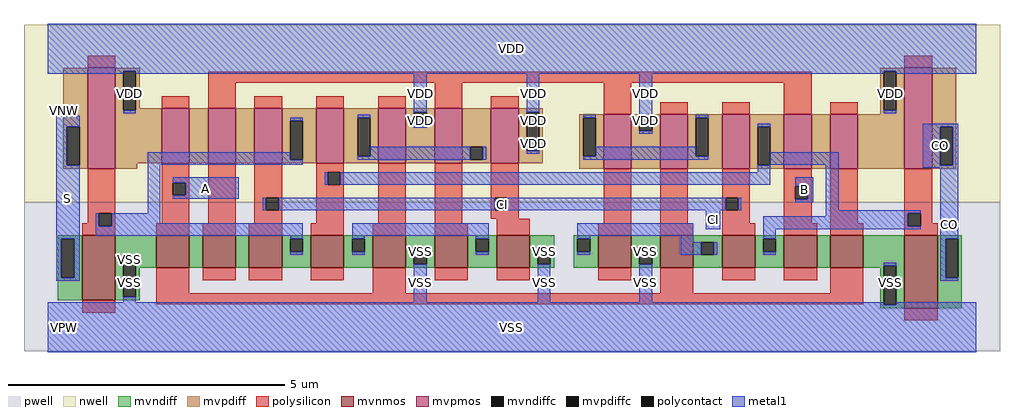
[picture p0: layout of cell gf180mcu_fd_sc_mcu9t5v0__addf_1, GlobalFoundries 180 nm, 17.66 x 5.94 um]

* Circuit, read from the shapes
.subckt gf180mcu_fd_sc_mcu9t5v0__addf_1 A B CI CO S VDD VNW VPW VSS
XM1 VSS n1 S VPW nfet_06v0 w=1.18u l=0.6u
XM2 n2 A VSS VPW nfet_06v0 w=0.59u l=0.6u
XM3 n3 B n2 VPW nfet_06v0 w=0.59u l=0.6u
XM4 n1 CI n3 VPW nfet_06v0 w=0.59u l=0.6u
XM5 n4 n5 n1 VPW nfet_06v0 w=0.59u l=0.6u
XM6 VSS A n4 VPW nfet_06v0 w=0.59u l=0.6u
XM7 n4 B VSS VPW nfet_06v0 w=0.59u l=0.6u
XM8 VSS CI n4 VPW nfet_06v0 w=0.59u l=0.6u
XM9 VSS B n6 VPW nfet_06v0 w=0.59u l=0.6u
XM10 n6 A VSS VPW nfet_06v0 w=0.59u l=0.6u
XM11 n5 CI n6 VPW nfet_06v0 w=0.59u l=0.6u
XM12 n7 B n5 VPW nfet_06v0 w=0.59u l=0.6u
XM13 VSS A n7 VPW nfet_06v0 w=0.59u l=0.6u
XM14 CO n5 VSS VPW nfet_06v0 w=1.32u l=0.6u
XM15 VDD n1 S VNW pfet_06v0 w=1.83u l=0.5u
XM16 n8 A VDD VNW pfet_06v0 w=0.99u l=0.5u
XM17 n9 B n8 VNW pfet_06v0 w=0.99u l=0.5u
XM18 n1 CI n9 VNW pfet_06v0 w=0.99u l=0.5u
XM19 n10 n5 n1 VNW pfet_06v0 w=0.99u l=0.5u
XM20 VDD A n10 VNW pfet_06v0 w=0.99u l=0.5u
XM21 n10 B VDD VNW pfet_06v0 w=0.99u l=0.5u
XM22 VDD CI n10 VNW pfet_06v0 w=0.99u l=0.5u
XM23 VDD B n11 VNW pfet_06v0 w=0.99u l=0.5u
XM24 n11 A VDD VNW pfet_06v0 w=0.99u l=0.5u
XM25 n5 CI n11 VNW pfet_06v0 w=0.99u l=0.5u
XM26 n12 B n5 VNW pfet_06v0 w=0.99u l=0.5u
XM27 VDD A n12 VNW pfet_06v0 w=0.99u l=0.5u
XM28 CO n5 VDD VNW pfet_06v0 w=1.83u l=0.5u
.ends

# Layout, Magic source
magic
tech gf180mcuD
magscale 1 10
<< nwell >>
rect -86 453 3446 1094
<< pwell >>
rect -86 -86 3446 453
<< mvnmos >>
rect 124 97 244 333
rect 392 215 512 333
rect 560 215 680 333
rect 728 215 848 333
rect 952 215 1072 333
rect 1176 215 1296 333
rect 1400 215 1520 333
rect 1624 215 1744 333
rect 1992 215 2112 333
rect 2216 215 2336 333
rect 2440 215 2560 333
rect 2664 215 2784 333
rect 2832 215 2952 333
rect 3100 69 3220 333
<< mvpmos >>
rect 144 573 244 939
rect 412 594 512 792
rect 580 594 680 792
rect 748 594 848 792
rect 972 594 1072 792
rect 1196 594 1296 792
rect 1400 594 1500 792
rect 1604 594 1704 792
rect 2012 573 2112 771
rect 2216 573 2316 771
rect 2440 573 2540 771
rect 2664 573 2764 771
rect 2832 573 2932 771
rect 3100 573 3200 939
<< mvndiff >>
rect 36 320 124 333
rect 36 180 49 320
rect 95 180 124 320
rect 36 97 124 180
rect 244 250 392 333
rect 244 110 273 250
rect 319 215 392 250
rect 512 215 560 333
rect 680 215 728 333
rect 848 320 952 333
rect 848 274 877 320
rect 923 274 952 320
rect 848 215 952 274
rect 1072 320 1176 333
rect 1072 274 1101 320
rect 1147 274 1176 320
rect 1072 215 1176 274
rect 1296 274 1400 333
rect 1296 228 1325 274
rect 1371 228 1400 274
rect 1296 215 1400 228
rect 1520 320 1624 333
rect 1520 274 1549 320
rect 1595 274 1624 320
rect 1520 215 1624 274
rect 1744 274 1832 333
rect 1744 228 1773 274
rect 1819 228 1832 274
rect 1744 215 1832 228
rect 1904 320 1992 333
rect 1904 274 1917 320
rect 1963 274 1992 320
rect 1904 215 1992 274
rect 2112 274 2216 333
rect 2112 228 2141 274
rect 2187 228 2216 274
rect 2112 215 2216 228
rect 2336 308 2440 333
rect 2336 262 2365 308
rect 2411 262 2440 308
rect 2336 215 2440 262
rect 2560 320 2664 333
rect 2560 274 2589 320
rect 2635 274 2664 320
rect 2560 215 2664 274
rect 2784 215 2832 333
rect 2952 222 3100 333
rect 2952 215 3025 222
rect 319 110 332 215
rect 244 97 332 110
rect 3012 82 3025 215
rect 3071 82 3100 222
rect 3012 69 3100 82
rect 3220 320 3308 333
rect 3220 180 3249 320
rect 3295 180 3308 320
rect 3220 69 3308 180
<< mvpdiff >>
rect 56 726 144 939
rect 56 586 69 726
rect 115 586 144 726
rect 56 573 144 586
rect 244 926 332 939
rect 244 786 273 926
rect 319 792 332 926
rect 3012 926 3100 939
rect 319 786 412 792
rect 244 594 412 786
rect 512 594 580 792
rect 680 594 748 792
rect 848 747 972 792
rect 848 607 877 747
rect 923 607 972 747
rect 848 594 972 607
rect 1072 758 1196 792
rect 1072 618 1121 758
rect 1167 618 1196 758
rect 1072 594 1196 618
rect 1296 779 1400 792
rect 1296 733 1325 779
rect 1371 733 1400 779
rect 1296 594 1400 733
rect 1500 653 1604 792
rect 1500 607 1529 653
rect 1575 607 1604 653
rect 1500 594 1604 607
rect 1704 779 1792 792
rect 1704 639 1733 779
rect 1779 639 1792 779
rect 3012 786 3025 926
rect 3071 786 3100 926
rect 3012 771 3100 786
rect 1704 594 1792 639
rect 1924 758 2012 771
rect 1924 618 1937 758
rect 1983 618 2012 758
rect 244 573 324 594
rect 1924 573 2012 618
rect 2112 758 2216 771
rect 2112 712 2141 758
rect 2187 712 2216 758
rect 2112 573 2216 712
rect 2316 758 2440 771
rect 2316 618 2345 758
rect 2391 618 2440 758
rect 2316 573 2440 618
rect 2540 726 2664 771
rect 2540 586 2569 726
rect 2615 586 2664 726
rect 2540 573 2664 586
rect 2764 573 2832 771
rect 2932 573 3100 771
rect 3200 726 3288 939
rect 3200 586 3229 726
rect 3275 586 3288 726
rect 3200 573 3288 586
<< mvndiffc >>
rect 49 180 95 320
rect 273 110 319 250
rect 877 274 923 320
rect 1101 274 1147 320
rect 1325 228 1371 274
rect 1549 274 1595 320
rect 1773 228 1819 274
rect 1917 274 1963 320
rect 2141 228 2187 274
rect 2365 262 2411 308
rect 2589 274 2635 320
rect 3025 82 3071 222
rect 3249 180 3295 320
<< mvpdiffc >>
rect 69 586 115 726
rect 273 786 319 926
rect 877 607 923 747
rect 1121 618 1167 758
rect 1325 733 1371 779
rect 1529 607 1575 653
rect 1733 639 1779 779
rect 3025 786 3071 926
rect 1937 618 1983 758
rect 2141 712 2187 758
rect 2345 618 2391 758
rect 2569 586 2615 726
rect 3229 586 3275 726
<< polysilicon >>
rect 144 939 244 983
rect 3100 939 3200 983
rect 580 884 2764 924
rect 412 792 512 836
rect 580 792 680 884
rect 748 792 848 836
rect 972 792 1072 836
rect 1196 792 1296 836
rect 1400 792 1500 884
rect 1604 792 1704 836
rect 2012 771 2112 884
rect 2216 771 2316 815
rect 2440 771 2540 815
rect 2664 771 2764 884
rect 2832 771 2932 815
rect 144 412 244 573
rect 144 377 185 412
rect 124 366 185 377
rect 231 366 244 412
rect 412 523 512 594
rect 412 477 453 523
rect 499 477 512 523
rect 412 377 512 477
rect 580 377 680 594
rect 748 469 848 594
rect 748 423 789 469
rect 835 423 848 469
rect 748 377 848 423
rect 972 561 1072 594
rect 972 515 1013 561
rect 1059 515 1072 561
rect 972 377 1072 515
rect 1196 377 1296 594
rect 124 333 244 366
rect 392 333 512 377
rect 560 333 680 377
rect 728 333 848 377
rect 952 333 1072 377
rect 1176 333 1296 377
rect 1400 377 1500 594
rect 1604 469 1704 594
rect 1604 423 1617 469
rect 1663 423 1704 469
rect 1604 393 1704 423
rect 1400 333 1520 377
rect 1624 333 1744 393
rect 2012 377 2112 573
rect 1992 333 2112 377
rect 2216 377 2316 573
rect 2440 469 2540 573
rect 2440 423 2453 469
rect 2499 423 2540 469
rect 2440 377 2540 423
rect 2664 510 2764 573
rect 2664 464 2705 510
rect 2751 464 2764 510
rect 2664 377 2764 464
rect 2832 377 2932 573
rect 3100 412 3200 573
rect 2216 333 2336 377
rect 2440 333 2560 377
rect 2664 333 2784 377
rect 2832 333 2952 377
rect 3100 366 3113 412
rect 3159 377 3200 412
rect 3159 366 3220 377
rect 3100 333 3220 366
rect 392 123 512 215
rect 560 171 680 215
rect 728 171 848 215
rect 952 171 1072 215
rect 1176 123 1296 215
rect 1400 171 1520 215
rect 1624 171 1744 215
rect 1992 171 2112 215
rect 2216 123 2336 215
rect 2440 171 2560 215
rect 2664 171 2784 215
rect 2832 123 2952 215
rect 124 53 244 97
rect 392 83 2952 123
rect 3100 25 3220 69
<< polycontact >>
rect 185 366 231 412
rect 453 477 499 523
rect 789 423 835 469
rect 1013 515 1059 561
rect 1617 423 1663 469
rect 2453 423 2499 469
rect 2705 464 2751 510
rect 3113 366 3159 412
<< metal1 >>
rect 0 926 3360 1098
rect 0 918 273 926
rect 319 918 3025 926
rect 273 775 319 786
rect 1325 779 1371 918
rect 30 726 115 766
rect 1121 758 1167 769
rect 30 586 69 726
rect 877 747 923 758
rect 30 320 115 586
rect 361 607 877 634
rect 1325 722 1371 733
rect 1733 779 1779 918
rect 1167 618 1529 653
rect 1121 607 1529 618
rect 1575 607 1586 653
rect 1733 628 1779 639
rect 1937 758 1983 769
rect 2141 758 2187 918
rect 3071 918 3360 926
rect 3025 775 3071 786
rect 2141 701 2187 712
rect 2345 758 2391 769
rect 1983 618 2345 653
rect 1937 607 2391 618
rect 2569 726 2615 737
rect 361 588 923 607
rect 361 412 407 588
rect 3166 726 3295 737
rect 2615 588 2862 634
rect 2569 561 2615 586
rect 453 523 691 542
rect 499 477 691 523
rect 1002 515 1013 561
rect 1059 515 2615 561
rect 453 466 691 477
rect 2705 510 2770 542
rect 778 423 789 469
rect 835 423 1617 469
rect 1663 423 2453 469
rect 2499 423 2510 469
rect 2751 464 2770 510
rect 2705 453 2770 464
rect 2816 423 2862 588
rect 3166 586 3229 726
rect 3275 586 3295 726
rect 3166 578 3295 586
rect 174 366 185 412
rect 231 377 407 412
rect 231 366 923 377
rect 174 331 923 366
rect 30 180 49 320
rect 95 180 115 320
rect 877 320 923 331
rect 877 263 923 274
rect 1101 331 1595 377
rect 1101 320 1147 331
rect 1549 320 1595 331
rect 1101 263 1147 274
rect 1325 274 1371 285
rect 30 169 115 180
rect 273 250 319 261
rect 273 90 319 110
rect 1917 331 2336 377
rect 2382 354 2434 423
rect 2816 412 3159 423
rect 2816 401 3113 412
rect 2589 366 3113 401
rect 2589 355 3159 366
rect 1917 320 1963 331
rect 1549 263 1595 274
rect 1773 274 1819 285
rect 1325 90 1371 228
rect 2290 308 2336 331
rect 2589 320 2635 355
rect 1917 263 1963 274
rect 2141 274 2187 285
rect 1773 90 1819 228
rect 2290 262 2365 308
rect 2411 262 2422 308
rect 2589 263 2635 274
rect 3229 320 3295 578
rect 2141 90 2187 228
rect 3025 222 3071 233
rect 0 82 3025 90
rect 3229 180 3249 320
rect 3229 169 3295 180
rect 3071 82 3360 90
rect 0 -90 3360 82
<< labels >>
flabel metal1 s 453 466 691 542 0 FreeSans 200 0 0 0 A
port 1 nsew default input
flabel metal1 s 2705 453 2770 542 0 FreeSans 200 0 0 0 B
port 2 nsew default input
flabel metal1 s 778 423 2510 469 0 FreeSans 200 0 0 0 CI
port 3 nsew default input
flabel metal1 s 3166 578 3295 737 0 FreeSans 200 0 0 0 CO
port 4 nsew default output
flabel metal1 s 30 169 115 766 0 FreeSans 200 0 0 0 S
port 5 nsew default output
flabel metal1 s 0 918 3360 1098 0 FreeSans 200 0 0 0 VDD
port 6 nsew power bidirectional abutment
flabel metal1 s 2141 261 2187 285 0 FreeSans 200 0 0 0 VSS
port 9 nsew ground bidirectional abutment
flabel nwell s 10 734 110 834 0 FreeSans 400 0 0 0 VNW
port 7 nsew power bidirectional
flabel pwell s 10 -50 110 50 0 FreeSans 400 0 0 0 VPW
port 8 nsew ground bidirectional
rlabel metal1 s 2382 354 2434 423 1 CI
port 3 nsew default input
rlabel metal1 s 3229 169 3295 578 1 CO
port 4 nsew default output
rlabel metal1 s 3025 775 3071 918 1 VDD
port 6 nsew power bidirectional abutment
rlabel metal1 s 2141 775 2187 918 1 VDD
port 6 nsew power bidirectional abutment
rlabel metal1 s 1733 775 1779 918 1 VDD
port 6 nsew power bidirectional abutment
rlabel metal1 s 1325 775 1371 918 1 VDD
port 6 nsew power bidirectional abutment
rlabel metal1 s 273 775 319 918 1 VDD
port 6 nsew power bidirectional abutment
rlabel metal1 s 2141 722 2187 775 1 VDD
port 6 nsew power bidirectional abutment
rlabel metal1 s 1733 722 1779 775 1 VDD
port 6 nsew power bidirectional abutment
rlabel metal1 s 1325 722 1371 775 1 VDD
port 6 nsew power bidirectional abutment
rlabel metal1 s 2141 701 2187 722 1 VDD
port 6 nsew power bidirectional abutment
rlabel metal1 s 1733 701 1779 722 1 VDD
port 6 nsew power bidirectional abutment
rlabel metal1 s 1733 628 1779 701 1 VDD
port 6 nsew power bidirectional abutment
rlabel metal1 s 1773 261 1819 285 1 VSS
port 9 nsew ground bidirectional abutment
rlabel metal1 s 1325 261 1371 285 1 VSS
port 9 nsew ground bidirectional abutment
rlabel metal1 s 2141 233 2187 261 1 VSS
port 9 nsew ground bidirectional abutment
rlabel metal1 s 1773 233 1819 261 1 VSS
port 9 nsew ground bidirectional abutment
rlabel metal1 s 1325 233 1371 261 1 VSS
port 9 nsew ground bidirectional abutment
rlabel metal1 s 273 233 319 261 1 VSS
port 9 nsew ground bidirectional abutment
rlabel metal1 s 3025 90 3071 233 1 VSS
port 9 nsew ground bidirectional abutment
rlabel metal1 s 2141 90 2187 233 1 VSS
port 9 nsew ground bidirectional abutment
rlabel metal1 s 1773 90 1819 233 1 VSS
port 9 nsew ground bidirectional abutment
rlabel metal1 s 1325 90 1371 233 1 VSS
port 9 nsew ground bidirectional abutment
rlabel metal1 s 273 90 319 233 1 VSS
port 9 nsew ground bidirectional abutment
rlabel metal1 s 0 -90 3360 90 1 VSS
port 9 nsew ground bidirectional abutment
<< properties >>
string FIXED_BBOX 0 0 3360 1008
string GDS_END 1085774
string GDS_FILE $PDKPATH/libs.ref/gf180mcu_fd_sc_mcu9t5v0/gds/gf180mcu_fd_sc_mcu9t5v0.gds
string GDS_START 1078558
string LEFclass core
string LEFsite GF018hv5v_green_sc9
string LEFsymmetry X Y
<< end >>
